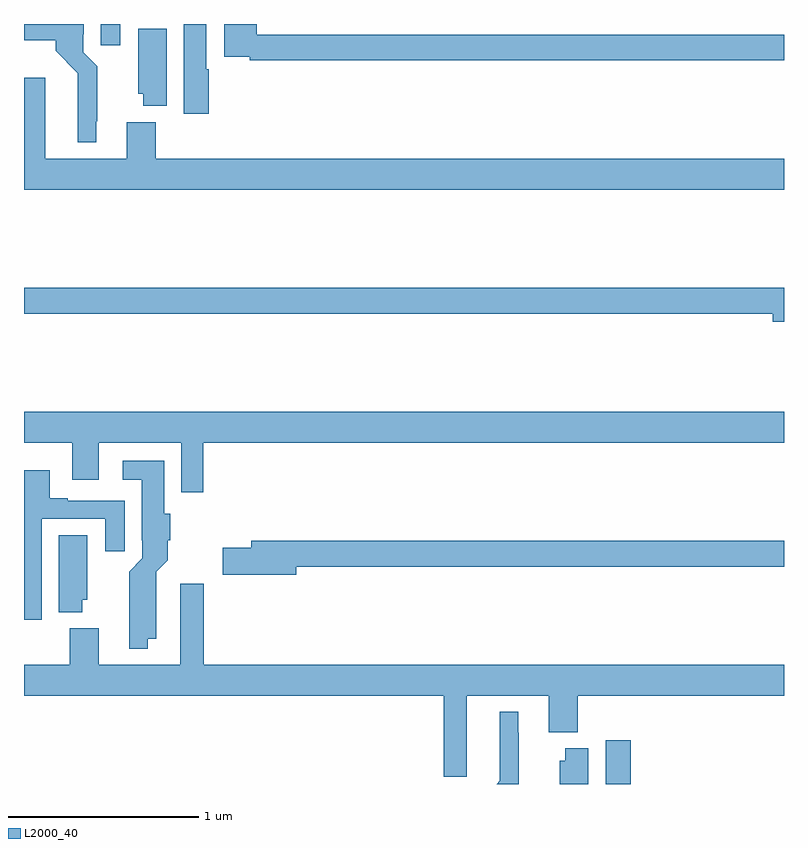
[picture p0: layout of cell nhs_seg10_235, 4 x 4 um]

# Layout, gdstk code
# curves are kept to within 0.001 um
import gdstk
lib = gdstk.Library(unit=1e-6, precision=1e-09)
def R(c, l, rs):  # rectangles x0, y0, x1, y1
    for r in rs: c.add(gdstk.rectangle(r[:2], r[2:], *l))
def P(c, l, *ps):  # polygons
    for p in ps: c.add(gdstk.Polygon(p, *l))
L2000_40 = (2000, 40)

nhs_seg10_235 = lib.new_cell('nhs_seg10_235')
R(nhs_seg10_235, L2000_40, [(124.061,1318.5,124.193,1318.729), (121.403,1322.388,121.507,1322.5)])
P(nhs_seg10_235, L2000_40, [(121.973,1322.261),(121.96,1322.261),(121.96,1322.5),(121.841,1322.5),(121.841,1322.028),(121.973,1322.028)],
  [(125,1322.444),(122.225,1322.444),(122.225,1322.5),(122.054,1322.5),(122.054,1322.328),(122.188,1322.328),(122.188,1322.308),(125,1322.308)],
  [(121.381,1321.987),(121.385,1321.987),(121.385,1322.278),(121.311,1322.352),(121.311,1322.446),(121.315,1322.446),(121.315,1322.5),(121,1322.5),(121,1322.414),(121.166,1322.414),(121.166,1322.358),(121.284,1322.24),(121.283,1321.877),(121.381,1321.877)],
  [(121.75,1322.474),(121.601,1322.474),(121.601,1322.133),(121.628,1322.133),(121.628,1322.069),(121.75,1322.069)],
  [(125,1321.792),(121.694,1321.792),(121.694,1321.984),(121.541,1321.984),(121.541,1321.792),(121.111,1321.792),(121.111,1322.218),(121,1322.218),(121,1321.628),(125,1321.628)],
  [(125,1321.112),(121,1321.112),(121,1320.976),(124.94,1320.976),(124.94,1320.934),(125,1320.934)],
  [(121.943,1320.296),(125,1320.296),(125,1320.46),(121,1320.46),(121,1320.296),(121.253,1320.296),(121.253,1320.102),(121.393,1320.102),(121.393,1320.296),(121.827,1320.296),(121.827,1320.036),(121.943,1320.036)],
  [(121.651,1319.264),(121.696,1319.264),(121.697,1319.618),(121.756,1319.677),(121.756,1319.782),(121.769,1319.782),(121.769,1319.922),(121.738,1319.922),(121.738,1320.202),(121.521,1320.202),(121.521,1320.101),(121.619,1320.101),(121.619,1319.782),(121.623,1319.782),(121.623,1319.688),(121.553,1319.618),(121.554,1319.213),(121.651,1319.213)],
  [(121.093,1319.895),(121.427,1319.895),(121.427,1319.724),(121.531,1319.724),(121.531,1319.991),(121.231,1319.991),(121.231,1320.004),(121.135,1320.004),(121.135,1320.151),(121,1320.151),(121,1319.364),(121.093,1319.364)],
  [(121.306,1319.469),(121.333,1319.469),(121.333,1319.81),(121.184,1319.81),(121.184,1319.405),(121.306,1319.405)],
  [(122.434,1319.644),(125,1319.644),(125,1319.78),(122.195,1319.78),(122.195,1319.744),(122.046,1319.744),(122.046,1319.602),(122.434,1319.602)],
  [(123.331,1318.964),(123.761,1318.964),(123.761,1318.772),(123.914,1318.772),(123.914,1318.964),(125,1318.964),(125,1319.128),(121.946,1319.128),(121.946,1319.554),(121.823,1319.554),(121.823,1319.128),(121.393,1319.128),(121.393,1319.32),(121.241,1319.32),(121.241,1319.128),(121,1319.128),(121,1318.964),(123.209,1318.964),(123.209,1318.539),(123.331,1318.539)],
  [(123.605,1318.769),(123.601,1318.769),(123.601,1318.879),(123.503,1318.879),(123.503,1318.618),(123.504,1318.618),(123.504,1318.516),(123.488,1318.5),(123.605,1318.5)],
  [(123.97,1318.687),(123.848,1318.687),(123.848,1318.623),(123.821,1318.623),(123.821,1318.5),(123.97,1318.5)])

lib.write_gds('nhs_seg10_235.gds')
